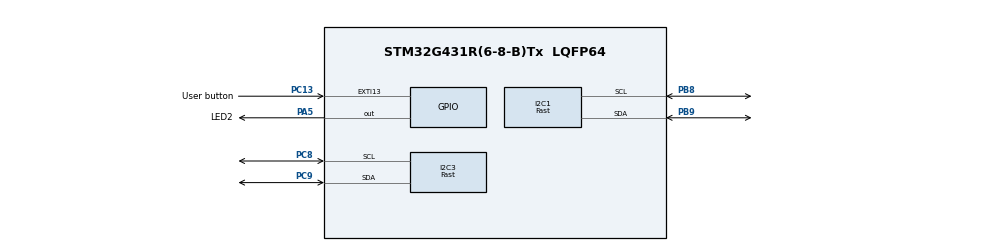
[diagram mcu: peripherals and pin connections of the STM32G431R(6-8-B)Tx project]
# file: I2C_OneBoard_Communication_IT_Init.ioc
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I2C1.AddressingMode=I2C_ADDRESSINGMODE_7BIT
I2C1.Analog_Filter=I2C_ANALOGFILTER_ENABLE
I2C1.CustomTiming=Disabled
I2C1.DualAddressMode=I2C_DUALADDRESS_DISABLE
I2C1.GeneralCallMode=I2C_GENERALCALL_DISABLE
I2C1.I2C_Coeff_DF=0x0
I2C1.I2C_Fall_Time=10
I2C1.I2C_Rise_Time=100
I2C1.I2C_Speed_Mode=I2C_Fast
I2C1.NoStretchMode=I2C_NOSTRETCH_DISABLE
I2C1.OwnAddress=0x5a
I2C1.Speed=400
I2C3.AddressingMode=I2C_ADDRESSINGMODE_7BIT
I2C3.Analog_Filter=I2C_ANALOGFILTER_ENABLE
I2C3.CustomTiming=Disabled
I2C3.DualAddressMode=I2C_DUALADDRESS_DISABLE
I2C3.GeneralCallMode=I2C_GENERALCALL_DISABLE
I2C3.I2C_Coeff_DF=0
I2C3.I2C_Fall_Time=10
I2C3.I2C_Rise_Time=100
I2C3.I2C_Speed_Mode=I2C_Fast
I2C3.NoStretchMode=I2C_NOSTRETCH_DISABLE
I2C3.OwnAddress=0
I2C3.Speed=400
Mcu.Family=STM32G4
Mcu.Name=STM32G431R(6-8-B)Tx
Mcu.Package=LQFP64
NVIC.EXTI15_10_IRQn=true\:0\:0\:false\:false\:true\:true\:true\:true
NVIC.PriorityGroup=NVIC_PRIORITYGROUP_4
PA5.GPIO_Label=LED2
PA5.Signal=GPIO_Output
PB8-BOOT0.GPIO_Pu=GPIO_PULLUP
PB8-BOOT0.GPIO_Speed=GPIO_SPEED_FREQ_HIGH
PB8-BOOT0.Mode=I2C
PB8-BOOT0.Signal=I2C1_SCL
PB9.GPIO_Pu=GPIO_PULLUP
PB9.GPIO_Speed=GPIO_SPEED_FREQ_HIGH
PB9.Mode=I2C
PB9.Signal=I2C1_SDA
PC13.GPIO_Label=User button
PC13.GPIO_ModeDefaultEXTI=GPIO_MODE_IT_FALLING
PC13.GPIO_PuPd=GPIO_NOPULL
PC13.Signal=GPXTI13
PC8.GPIO_Pu=GPIO_PULLUP
PC8.GPIO_Speed=GPIO_SPEED_FREQ_HIGH
PC8.Mode=I2C
PC8.Signal=I2C3_SCL
PC9.GPIO_Pu=GPIO_PULLUP
PC9.GPIO_Speed=GPIO_SPEED_FREQ_HIGH
PC9.Mode=I2C
PC9.Signal=I2C3_SDA
ProjectManager.HeapSize=0x200
ProjectManager.StackSize=0x400
ProjectManager.TargetToolchain=EWARM V8.32
RCC.ADC12Freq_Value=170000000
RCC.AHBFreq_Value=170000000
RCC.APB1Freq_Value=170000000
RCC.APB1TimFreq_Value=170000000
RCC.APB2Freq_Value=170000000
RCC.APB2TimFreq_Value=170000000
RCC.CortexFreq_Value=170000000
RCC.EXTERNAL_CLOCK_VALUE=12288000
RCC.HCLKFreq_Value=170000000
RCC.HSE_VALUE=24000000
RCC.HSI48_VALUE=48000000
RCC.HSI_VALUE=16000000
RCC.LSE_VALUE=32768
RCC.PLLM=RCC_PLLM_DIV4
RCC.PLLN=85
RCC.SYSCLKFreq_VALUE=170000000
RCC.SYSCLKSource=RCC_SYSCLKSOURCE_PLLCLK
RCC.USBFreq_Value=170000000
RCC.VCOOutputFreq_Value=340000000
VP_SYS_VS_DBSignals.Mode=DisableDeadBatterySignals
board=custom

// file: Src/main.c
/* USER CODE BEGIN Header */
/**
  ******************************************************************************
  * @file    Examples_LL/I2C/I2C_OneBoard_Communication_IT_Init/Src/main.c
  * @author  MCD Application Team
  * @brief   This example describes how to send/receive bytes over I2C IP using
  *          the STM32G4xx I2C LL API.
  *          Peripheral initialization done using LL initialization function.
  ******************************************************************************
  * @attention
  *
  * <h2><center>&copy; Copyright (c) 2019 STMicroelectronics.
  * All rights reserved.</center></h2>
  *
  * This software component is licensed by ST under BSD 3-Clause license,
  * the "License"; You may not use this file except in compliance with the
  * License. You may obtain a copy of the License at:
  *                        opensource.org/licenses/BSD-3-Clause
  *
  ******************************************************************************
  */
/* USER CODE END Header */

#include "main.h"

/* USER CODE BEGIN PTD */
LL_I2C_InitTypeDef i2c_initstruct;
/* USER CODE END PTD */

/* USER CODE BEGIN PD */
/**
  * @brief I2C devices settings
  */
#define I2C_TIMING

/**
  * @brief Define related to SlaveTransmit process
  */
#define SLAVE_BYTE_TO_SEND       (uint8_t)0xA5

/* USER CODE END PD */

/* USER CODE BEGIN PV */
__IO uint8_t ubButtonPress       = 0;

/**
  * @brief Variables related to MasterReceive process
  */
uint8_t      aReceiveBuffer[0xF] = {0};
__IO uint8_t ubReceiveIndex      = 0;

/* USER CODE END PV */

void SystemClock_Config(void);
static void MX_GPIO_Init(void);
static void MX_I2C1_Init(void);
static void MX_I2C3_Init(void);
/* USER CODE BEGIN PFP */
void     LED_On(void);
void     LED_Off(void);
void     LED_Blinking(uint32_t Period);
void     WaitForUserButtonPress(void);
void     Handle_I2C_Master(void);

/* USER CODE END PFP */

int main(void)
{

  /* MCU Configuration--------------------------------------------------------*/

  /* Reset of all peripherals, Initializes the Flash interface and the Systick. */

  LL_APB2_GRP1_EnableClock(LL_APB2_GRP1_PERIPH_SYSCFG);
  LL_APB1_GRP1_EnableClock(LL_APB1_GRP1_PERIPH_PWR);

  NVIC_SetPriorityGrouping(NVIC_PRIORITYGROUP_4);

  /* System interrupt init*/

  /** Disable the internal Pull-Up in Dead Battery pins of UCPD peripheral
  */
  LL_PWR_DisableDeadBatteryPD();

  /* Configure the system clock */
  SystemClock_Config();

  /* Initialize all configured peripherals */
  MX_GPIO_Init();
  MX_I2C1_Init();
  MX_I2C3_Init();
  /* USER CODE BEGIN 2 */
  /* Set LED2 Off */
  LED_Off();

  /* Wait for User push-button press to start transfer */
  WaitForUserButtonPress();

  /* Handle I2C3 events (Master) */
  Handle_I2C_Master();
  /* USER CODE END 2 */

  /* Infinite loop */
  while (1)
  {

  }
}

void SystemClock_Config(void)
{
  LL_FLASH_SetLatency(LL_FLASH_LATENCY_8);
  LL_PWR_EnableRange1BoostMode();
  LL_RCC_HSI_Enable();

   /* Wait till HSI is ready */
  while(LL_RCC_HSI_IsReady() != 1)
  {

  }
  LL_RCC_HSI_SetCalibTrimming(64);
  LL_RCC_PLL_ConfigDomain_SYS(LL_RCC_PLLSOURCE_HSI, LL_RCC_PLLM_DIV_4, 85, LL_RCC_PLLR_DIV_2);
  LL_RCC_PLL_EnableDomain_SYS();
  LL_RCC_PLL_Enable();

   /* Wait till PLL is ready */
  while(LL_RCC_PLL_IsReady() != 1)
  {

  }
  LL_RCC_SetSysClkSource(LL_RCC_SYS_CLKSOURCE_PLL);
  LL_RCC_SetAHBPrescaler(LL_RCC_SYSCLK_DIV_2);

   /* Wait till System clock is ready */
  while(LL_RCC_GetSysClkSource() != LL_RCC_SYS_CLKSOURCE_STATUS_PLL)
  {

  }
  /* Insure 1µs transition state at intermediate medium speed clock based on DWT */
  CoreDebug->DEMCR |= CoreDebug_DEMCR_TRCENA_Msk;
  DWT->CTRL |= DWT_CTRL_CYCCNTENA_Msk;
  DWT->CYCCNT = 0;
  while(DWT->CYCCNT < 100);
  /* Set AHB prescaler*/
  LL_RCC_SetAHBPrescaler(LL_RCC_SYSCLK_DIV_1);
  LL_RCC_SetAPB1Prescaler(LL_RCC_APB1_DIV_1);
  LL_RCC_SetAPB2Prescaler(LL_RCC_APB1_DIV_1);

  LL_Init1msTick(170000000);

  LL_SetSystemCoreClock(170000000);
  LL_RCC_SetI2CClockSource(LL_RCC_I2C1_CLKSOURCE_PCLK1);
  LL_RCC_SetI2CClockSource(LL_RCC_I2C3_CLKSOURCE_PCLK1);
}

static void MX_I2C1_Init(void)
{

  LL_I2C_InitTypeDef I2C_InitStruct = {0};

  LL_GPIO_InitTypeDef GPIO_InitStruct = {0};

  LL_AHB2_GRP1_EnableClock(LL_AHB2_GRP1_PERIPH_GPIOB);
  /**I2C1 GPIO Configuration
  PB8-BOOT0   ------> I2C1_SCL
  PB9   ------> I2C1_SDA
  */
  GPIO_InitStruct.Pin = LL_GPIO_PIN_8;
  GPIO_InitStruct.Mode = LL_GPIO_MODE_ALTERNATE;
  GPIO_InitStruct.Speed = LL_GPIO_SPEED_FREQ_HIGH;
  GPIO_InitStruct.OutputType = LL_GPIO_OUTPUT_OPENDRAIN;
  GPIO_InitStruct.Pull = LL_GPIO_PULL_UP;
  GPIO_InitStruct.Alternate = LL_GPIO_AF_4;
  LL_GPIO_Init(GPIOB, &GPIO_InitStruct);

  GPIO_InitStruct.Pin = LL_GPIO_PIN_9;
  GPIO_InitStruct.Mode = LL_GPIO_MODE_ALTERNATE;
  GPIO_InitStruct.Speed = LL_GPIO_SPEED_FREQ_HIGH;
  GPIO_InitStruct.OutputType = LL_GPIO_OUTPUT_OPENDRAIN;
  GPIO_InitStruct.Pull = LL_GPIO_PULL_UP;
  GPIO_InitStruct.Alternate = LL_GPIO_AF_4;
  LL_GPIO_Init(GPIOB, &GPIO_InitStruct);

  /* Peripheral clock enable */
  LL_APB1_GRP1_EnableClock(LL_APB1_GRP1_PERIPH_I2C1);

  /* USER CODE BEGIN I2C1_Init 1 */
  /* Configure Event IT:
   *  - Set priority for I2C1_EV_IRQn
   *  - Enable I2C1_EV_IRQn
   */
  NVIC_SetPriority(I2C1_EV_IRQn, 0);
  NVIC_EnableIRQ(I2C1_EV_IRQn);

  /* Configure Error IT:
   *  - Set priority for I2C1_ER_IRQn
   *  - Enable I2C1_ER_IRQn
   */
  NVIC_SetPriority(I2C1_ER_IRQn, 0);
  NVIC_EnableIRQ(I2C1_ER_IRQn);
  /* Reset I2C1 data registers */
  if (LL_I2C_DeInit(I2C1) != SUCCESS)
  {
    /* Initialization Error */
    LED_Blinking(LED_BLINK_ERROR);
  }
  /* USER CODE END I2C1_Init 1 */
  /** I2C Initialization
  */
  I2C_InitStruct.PeripheralMode = LL_I2C_MODE_I2C;
  I2C_InitStruct.Timing = 0x00303D5B;
  I2C_InitStruct.AnalogFilter = LL_I2C_ANALOGFILTER_ENABLE;
  I2C_InitStruct.DigitalFilter = 0x0;
  I2C_InitStruct.OwnAddress1 = 180;
  I2C_InitStruct.TypeAcknowledge = LL_I2C_ACK;
  I2C_InitStruct.OwnAddrSize = LL_I2C_OWNADDRESS1_7BIT;
  LL_I2C_Init(I2C1, &I2C_InitStruct);
  LL_I2C_EnableAutoEndMode(I2C1);
  LL_I2C_SetOwnAddress2(I2C1, 0, LL_I2C_OWNADDRESS2_NOMASK);
  LL_I2C_DisableOwnAddress2(I2C1);
  LL_I2C_DisableGeneralCall(I2C1);
  LL_I2C_EnableClockStretching(I2C1);
  /* USER CODE BEGIN I2C1_Init 2 */
  /* Initialize I2C instance according to parameters defined in initialization structure. */
  if (LL_I2C_Init(I2C1, &I2C_InitStruct) != SUCCESS)
  {
    /* Initialization Error */
    LED_Blinking(LED_BLINK_ERROR);
  }

  /* (5) Enable I2C1 address match/error interrupts:
   *  - Enable Address Match Interrupt
   *  - Enable Not acknowledge received interrupt
   *  - Enable Error interrupts
   *  - Enable Stop interrupt
   */
  LL_I2C_EnableIT_ADDR(I2C1);
  LL_I2C_EnableIT_NACK(I2C1);
  LL_I2C_EnableIT_ERR(I2C1);
  LL_I2C_EnableIT_STOP(I2C1);
  /* USER CODE END I2C1_Init 2 */

}

static void MX_I2C3_Init(void)
{

  LL_I2C_InitTypeDef I2C_InitStruct = {0};

  LL_GPIO_InitTypeDef GPIO_InitStruct = {0};

  LL_AHB2_GRP1_EnableClock(LL_AHB2_GRP1_PERIPH_GPIOC);
  /**I2C3 GPIO Configuration
  PC8   ------> I2C3_SCL
  PC9   ------> I2C3_SDA
  */
  GPIO_InitStruct.Pin = LL_GPIO_PIN_8;
  GPIO_InitStruct.Mode = LL_GPIO_MODE_ALTERNATE;
  GPIO_InitStruct.Speed = LL_GPIO_SPEED_FREQ_HIGH;
  GPIO_InitStruct.OutputType = LL_GPIO_OUTPUT_OPENDRAIN;
  GPIO_InitStruct.Pull = LL_GPIO_PULL_UP;
  GPIO_InitStruct.Alternate = LL_GPIO_AF_8;
  LL_GPIO_Init(GPIOC, &GPIO_InitStruct);

  GPIO_InitStruct.Pin = LL_GPIO_PIN_9;
  GPIO_InitStruct.Mode = LL_GPIO_MODE_ALTERNATE;
  GPIO_InitStruct.Speed = LL_GPIO_SPEED_FREQ_HIGH;
  GPIO_InitStruct.OutputType = LL_GPIO_OUTPUT_OPENDRAIN;
  GPIO_InitStruct.Pull = LL_GPIO_PULL_UP;
  GPIO_InitStruct.Alternate = LL_GPIO_AF_8;
  LL_GPIO_Init(GPIOC, &GPIO_InitStruct);

  /* Peripheral clock enable */
  LL_APB1_GRP1_EnableClock(LL_APB1_GRP1_PERIPH_I2C3);

  /* USER CODE BEGIN I2C3_Init 1 */
  /* Configure Event IT:
   *  - Set priority for I2C3_EV_IRQn
   *  - Enable I2C3_EV_IRQn
   */
  NVIC_SetPriority(I2C3_EV_IRQn, 0);
  NVIC_EnableIRQ(I2C3_EV_IRQn);

  /* Configure Error IT:
   *  - Set priority for I2C3_ER_IRQn
   *  - Enable I2C3_ER_IRQn
   */
  NVIC_SetPriority(I2C3_ER_IRQn, 0);
  NVIC_EnableIRQ(I2C3_ER_IRQn);
  /* Reset I2C3 data registers */
  if (LL_I2C_DeInit(I2C3) != SUCCESS)
  {
    /* Initialization Error */
    LED_Blinking(LED_BLINK_ERROR);
  }
  /* USER CODE END I2C3_Init 1 */
  /** I2C Initialization
  */
  I2C_InitStruct.PeripheralMode = LL_I2C_MODE_I2C;
  I2C_InitStruct.Timing = 0x00303D5B;
  I2C_InitStruct.AnalogFilter = LL_I2C_ANALOGFILTER_ENABLE;
  I2C_InitStruct.DigitalFilter = 0;
  I2C_InitStruct.OwnAddress1 = 0;
  I2C_InitStruct.TypeAcknowledge = LL_I2C_ACK;
  I2C_InitStruct.OwnAddrSize = LL_I2C_OWNADDRESS1_7BIT;
  LL_I2C_Init(I2C3, &I2C_InitStruct);
  LL_I2C_EnableAutoEndMode(I2C3);
  LL_I2C_SetOwnAddress2(I2C3, 0, LL_I2C_OWNADDRESS2_NOMASK);
  LL_I2C_DisableOwnAddress2(I2C3);
  LL_I2C_DisableGeneralCall(I2C3);
  LL_I2C_EnableClockStretching(I2C3);
  /* USER CODE BEGIN I2C3_Init 2 */
  /* Initialize I2C instance according to parameters defined in initialization structure. */
  if (LL_I2C_Init(I2C3, &I2C_InitStruct) != SUCCESS)
  {
    /* Initialization Error */
    LED_Blinking(LED_BLINK_ERROR);
  }

  /* (5) Enable I2C3 transfer complete/error interrupts:
   *  - Enable Receive Interrupt
   *  - Enable Not acknowledge received interrupt
   *  - Enable Error interrupts
   *  - Enable Stop interrupt
   */
  LL_I2C_EnableIT_RX(I2C3);
  LL_I2C_EnableIT_NACK(I2C3);
  LL_I2C_EnableIT_ERR(I2C3);
  LL_I2C_EnableIT_STOP(I2C3);
  /* USER CODE END I2C3_Init 2 */

}

static void MX_GPIO_Init(void)
{
  LL_EXTI_InitTypeDef EXTI_InitStruct = {0};
  LL_GPIO_InitTypeDef GPIO_InitStruct = {0};

  /* GPIO Ports Clock Enable */
  LL_AHB2_GRP1_EnableClock(LL_AHB2_GRP1_PERIPH_GPIOC);
  LL_AHB2_GRP1_EnableClock(LL_AHB2_GRP1_PERIPH_GPIOA);
  LL_AHB2_GRP1_EnableClock(LL_AHB2_GRP1_PERIPH_GPIOB);

  /**/
  LL_GPIO_ResetOutputPin(LED2_GPIO_Port, LED2_Pin);

  /**/
  LL_SYSCFG_SetEXTISource(LL_SYSCFG_EXTI_PORTC, LL_SYSCFG_EXTI_LINE13);

  /**/
  EXTI_InitStruct.Line_0_31 = LL_EXTI_LINE_13;
  EXTI_InitStruct.LineCommand = ENABLE;
  EXTI_InitStruct.Mode = LL_EXTI_MODE_IT;
  EXTI_InitStruct.Trigger = LL_EXTI_TRIGGER_FALLING;
  LL_EXTI_Init(&EXTI_InitStruct);

  /**/
  LL_GPIO_SetPinPull(User_button_GPIO_Port, User_button_Pin, LL_GPIO_PULL_NO);

  /**/
  LL_GPIO_SetPinMode(User_button_GPIO_Port, User_button_Pin, LL_GPIO_MODE_INPUT);

  /**/
  GPIO_InitStruct.Pin = LED2_Pin;
  GPIO_InitStruct.Mode = LL_GPIO_MODE_OUTPUT;
  GPIO_InitStruct.Speed = LL_GPIO_SPEED_FREQ_LOW;
  GPIO_InitStruct.OutputType = LL_GPIO_OUTPUT_PUSHPULL;
  GPIO_InitStruct.Pull = LL_GPIO_PULL_NO;
  LL_GPIO_Init(LED2_GPIO_Port, &GPIO_InitStruct);

  /* EXTI interrupt init*/
  NVIC_SetPriority(EXTI15_10_IRQn, NVIC_EncodePriority(NVIC_GetPriorityGrouping(),0, 0));
  NVIC_EnableIRQ(EXTI15_10_IRQn);

}

/* USER CODE BEGIN 4 */

/**
  * @brief  Turn-on LED2.
  * @param  None
  * @retval None
  */
void LED_On(void)
{
  /* Turn LED2 on */
  LL_GPIO_SetOutputPin(LED2_GPIO_Port, LED2_Pin);
}

/**
  * @brief  Turn-off LED2.
  * @param  None
  * @retval None
  */
void LED_Off(void)
{
  /* Turn LED2 off */
  LL_GPIO_ResetOutputPin(LED2_GPIO_Port, LED2_Pin);
}

/**
  * @brief  Set LED2 to Blinking mode for an infinite loop (toggle period based on value provided as input parameter).
  * @param  Period : Period of time (in ms) between each toggling of LED
  *   This parameter can be user defined values. Pre-defined values used in that example are :
  *     @arg LED_BLINK_FAST : Fast Blinking
  *     @arg LED_BLINK_SLOW : Slow Blinking
  *     @arg LED_BLINK_ERROR : Error specific Blinking
  * @retval None
  */
void LED_Blinking(uint32_t Period)
{
  /* Turn LED2 on */
  LL_GPIO_SetOutputPin(LED2_GPIO_Port, LED2_Pin);

  /* Toggle IO in an infinite loop */
  while (1)
  {
    LL_GPIO_TogglePin(LED2_GPIO_Port, LED2_Pin);
    LL_mDelay(Period);
  }
}

/**
  * @brief  Wait for User push-button press to start transfer.
  * @param  None
  * @retval None
  */
/*  */
void WaitForUserButtonPress(void)
{
  while (ubButtonPress == 0)
  {
    LL_GPIO_TogglePin(LED2_GPIO_Port, LED2_Pin);
    LL_mDelay(LED_BLINK_FAST);
  }
  /* Turn LED2 off */
  LL_GPIO_ResetOutputPin(LED2_GPIO_Port, LED2_Pin);
}

/**
  * @brief  This Function handle Master events to perform a reception process
  * @note  This function is composed in one step :
  *        -1- Initiate a Start condition to the Slave device.
  * @param  None
  * @retval None
  */
void Handle_I2C_Master(void)
{
  /* (1) Initiate a Start condition to the Slave device ***********************/

  /* Master Generate Start condition for a read request:
   *  - to the Slave with a 7-Bit SLAVE_OWN_ADDRESS
   *  - with a auto stop condition generation when receive 1 byte
   */
  LL_I2C_HandleTransfer(I2C3, SLAVE_OWN_ADDRESS, LL_I2C_ADDRSLAVE_7BIT, 1, LL_I2C_MODE_AUTOEND, LL_I2C_GENERATE_START_READ);
}

/******************************************************************************/
/*   IRQ HANDLER TREATMENT Functions                                          */
/******************************************************************************/
/**
  * @brief  Function to manage User push-button
  * @param  None
  * @retval None
  */
void UserButton_Callback(void)
{
  /* Update User push-button variable : to be checked in waiting loop in main program */
  ubButtonPress = 1;
}

/**
  * @brief  Function called from I2C IRQ Handler when TXIS flag is set
  *         Function is in charge of transmit a byte on I2C lines.
  * @param  None
  * @retval None
  */
void Slave_Ready_To_Transmit_Callback(void)
{
  /* Send the Byte requested by the Master */
  LL_I2C_TransmitData8(I2C1, SLAVE_BYTE_TO_SEND);
}

/**
  * @brief  Function called from I2C IRQ Handler when RXNE flag is set
  *         Function is in charge of reading byte received on I2C lines.
  * @param  None
  * @retval None
  */
void Master_Reception_Callback(void)
{
  /* Read character in Receive Data register.
  RXNE flag is cleared by reading data in RXDR register */
  aReceiveBuffer[ubReceiveIndex++] = LL_I2C_ReceiveData8(I2C3);
}

/**
  * @brief  Function called from I2C IRQ Handler when STOP flag is set
  *         Function is in charge of checking data received,
  *         LED2 is On if data are correct.
  * @param  None
  * @retval None
  */
void Master_Complete_Callback(void)
{
  /* Read Received character.
  RXNE flag is cleared by reading of RXDR register */
  if (aReceiveBuffer[ubReceiveIndex - 1] == SLAVE_BYTE_TO_SEND)
  {
    /* Turn LED2 On:
     * - Expected byte has been received
     * - Master Rx sequence completed successfully
     */
    LED_On();
  }
  else
  {
    /* Call Error function */
    Error_Callback();
  }
}

/**
  * @brief  Function called in case of error detected in I2C IT Handler
  * @param  None
  * @retval None
  */
void Error_Callback(void)
{
  /* Disable I2C1_EV_IRQn and I2C3_EV_IRQn */
  NVIC_DisableIRQ(I2C1_EV_IRQn);
  NVIC_DisableIRQ(I2C3_EV_IRQn);

  /* Disable I2C1_ER_IRQn and I2C3_ER_IRQn */
  NVIC_DisableIRQ(I2C1_ER_IRQn);
  NVIC_DisableIRQ(I2C3_ER_IRQn);

  /* Unexpected event : Set LED2 to Blinking mode to indicate error occurs */
  LED_Blinking(LED_BLINK_ERROR);
}

/* USER CODE END 4 */

void Error_Handler(void)
{
}

/************************ (C) COPYRIGHT STMicroelectronics *****END OF FILE****/
